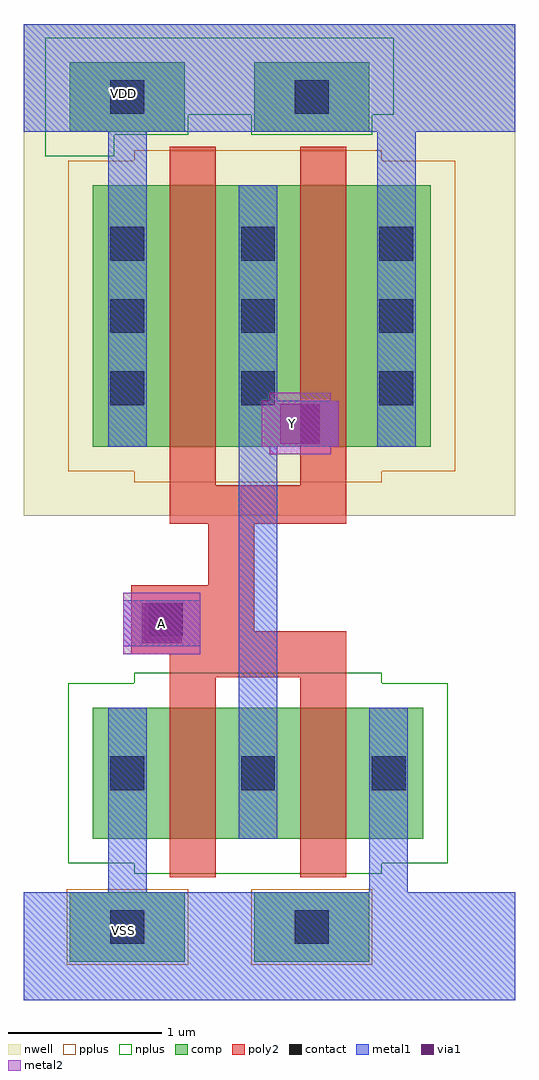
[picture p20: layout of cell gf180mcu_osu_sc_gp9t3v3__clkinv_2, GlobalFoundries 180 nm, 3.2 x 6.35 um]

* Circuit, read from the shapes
.subckt gf180mcu_osu_sc_gp9t3v3__clkinv_2 A VDD VSS Y
XM1 Y A VSS VSS nfet_03v3 w=0.85u l=0.3u m=2
XM2 Y A VDD VDD pfet_03v3 w=1.7u l=0.3u m=2
.ends

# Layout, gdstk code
import gdstk
lib = gdstk.Library(unit=1e-6, precision=1e-09)
def R(c, l, rs):  # rectangles x0, y0, x1, y1
    for r in rs: c.add(gdstk.rectangle(r[:2], r[2:], *l))
def A(c, l, x, y, w, h, nx, ny, dx, dy):  # array of equal rectangles
    R(c, l, [(x+i*dx, y+j*dy, x+i*dx+w, y+j*dy+h) for i in range(nx) for j in range(ny)])
nwell = (21, 0)
comp = (22, 0)
poly2 = (30, 0)
pplus = (31, 0)
nplus = (32, 0)
contact = (33, 0)
metal1 = (34, 0)
via1 = (35, 0)
metal2 = (36, 0)

gf180mcu_osu_sc_gp9t3v3_ = lib.new_cell('gf180mcu_osu_sc_gp9t3v3__clkinv_2')
R(gf180mcu_osu_sc_gp9t3v3_, nwell, [(0,3.15,3.2,6.35)])
R(gf180mcu_osu_sc_gp9t3v3_, comp, [(0.3,0.25,1.05,0.7), (1.5,0.25,2.25,0.7), (0.45,1.05,2.6,1.9), (0.45,3.6,2.65,5.3), (0.3,5.65,1.05,6.1), (1.5,5.65,2.25,6.1)])
R(gf180mcu_osu_sc_gp9t3v3_, poly2, [(0.95,0.8,1.25,2.1), (1.8,0.8,2.1,2.1), (0.95,2.1,2.1,2.25), (0.7,2.25,2.1,2.4), (0.7,2.4,1.5,2.7), (1.2,2.7,1.5,3.1), (0.95,3.1,2.1,3.35), (0.95,3.35,1.25,5.55), (1.8,3.35,2.1,5.55)])
R(gf180mcu_osu_sc_gp9t3v3_, pplus, [(0.28,0.23,1.07,0.72), (1.48,0.23,2.27,0.72), (0.72,3.37,2.33,3.44), (0.29,3.44,2.81,5.46), (0.72,5.46,2.33,5.53)])
R(gf180mcu_osu_sc_gp9t3v3_, nplus, [(0.72,0.82,2.33,0.89), (0.29,0.89,2.76,2.06), (0.72,2.06,2.33,2.13), (0.14,5.49,0.59,5.63), (0.14,5.63,1.07,5.76), (1.48,5.63,2.27,5.76), (0.14,5.76,2.41,6.26)])
A(gf180mcu_osu_sc_gp9t3v3_, contact, 0.565, 1.365, 0.22, 0.22, 3, 1, 0.85, 0)
A(gf180mcu_osu_sc_gp9t3v3_, contact, 0.565, 3.87, 0.22, 0.22, 1, 3, 0, 0.47)
A(gf180mcu_osu_sc_gp9t3v3_, contact, 1.415, 3.87, 0.22, 0.22, 1, 3, 0, 0.47)
A(gf180mcu_osu_sc_gp9t3v3_, contact, 2.315, 3.87, 0.22, 0.22, 1, 3, 0, 0.47)
R(gf180mcu_osu_sc_gp9t3v3_, contact, [(0.565,0.365,0.785,0.585), (1.765,0.365,1.985,0.585), (0.815,2.365,1.035,2.585), (0.565,5.765,0.785,5.985), (1.765,5.765,1.985,5.985)])
R(gf180mcu_osu_sc_gp9t3v3_, metal1, [(0,0,3.2,0.7), (0.55,0.7,0.8,1.9), (2.25,0.7,2.5,1.9), (1.4,1.05,1.65,3.6), (0.65,2.3,1.15,2.6), (0.55,3.6,0.8,5.65), (1.4,3.6,2.05,3.9), (2.3,3.6,2.55,5.65), (1.4,3.9,1.65,5.3), (0,5.65,3.2,6.35)])
R(gf180mcu_osu_sc_gp9t3v3_, via1, [(0.77,2.32,1.03,2.58), (1.67,3.62,1.93,3.88)])
R(gf180mcu_osu_sc_gp9t3v3_, metal2, [(0.65,2.25,1.15,2.65), (1.6,3.55,2,3.6), (1.55,3.6,2.05,3.9), (1.6,3.9,2,3.95)])
gf180mcu_osu_sc_gp9t3v3_.add(gdstk.Label('VDD', (0.65,5.9), layer=34, texttype=10))
gf180mcu_osu_sc_gp9t3v3_.add(gdstk.Label('VSS', (0.65,0.45), layer=34, texttype=10))
gf180mcu_osu_sc_gp9t3v3_.add(gdstk.Label('A', (0.9,2.45), layer=36, texttype=10))
gf180mcu_osu_sc_gp9t3v3_.add(gdstk.Label('Y', (1.75,3.75), layer=36, texttype=10))

lib.write_gds('gf180mcu_osu_sc_gp9t3v3__clkinv_2.gds')
